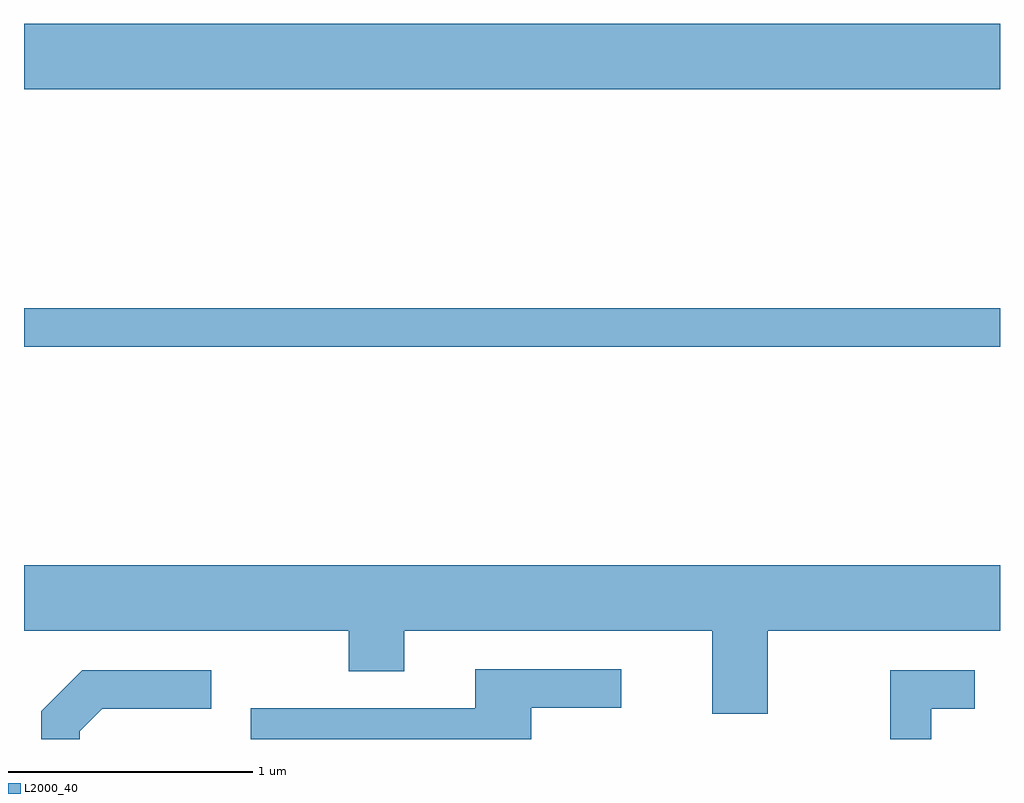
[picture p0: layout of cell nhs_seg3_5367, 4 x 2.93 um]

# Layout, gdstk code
import gdstk
lib = gdstk.Library(unit=1e-6, precision=1e-09)
def R(c, l, rs):  # rectangles x0, y0, x1, y1
    for r in rs: c.add(gdstk.rectangle(r[:2], r[2:], *l))
def P(c, l, *ps):  # polygons
    for p in ps: c.add(gdstk.Polygon(p, *l))
L2000_40 = (2000, 40)

nhs_seg3_5367 = lib.new_cell('nhs_seg3_5367')
R(nhs_seg3_5367, L2000_40, [(341.611,1251.501,345.611,1251.659), (341.611,1252.556,345.611,1252.824)])
P(nhs_seg3_5367, L2000_40, [(344.659,1250.336),(345.611,1250.336),(345.611,1250.604),(341.611,1250.604),(341.611,1250.336),(342.941,1250.336),(342.941,1250.171),(343.169,1250.171),(343.169,1250.336),(344.431,1250.336),(344.431,1249.996),(344.659,1249.996)],
  [(343.689,1250.021),(344.058,1250.021),(344.058,1250.179),(343.461,1250.179),(343.461,1250.019),(342.541,1250.019),(342.541,1249.892),(343.689,1249.892)],
  [(345.329,1250.016),(345.508,1250.016),(345.508,1250.174),(345.161,1250.174),(345.161,1249.892),(345.329,1249.892)],
  [(341.839,1249.924),(341.932,1250.016),(342.378,1250.016),(342.378,1250.174),(341.849,1250.174),(341.681,1250.007),(341.681,1249.892),(341.839,1249.892)])

lib.write_gds('nhs_seg3_5367.gds')
